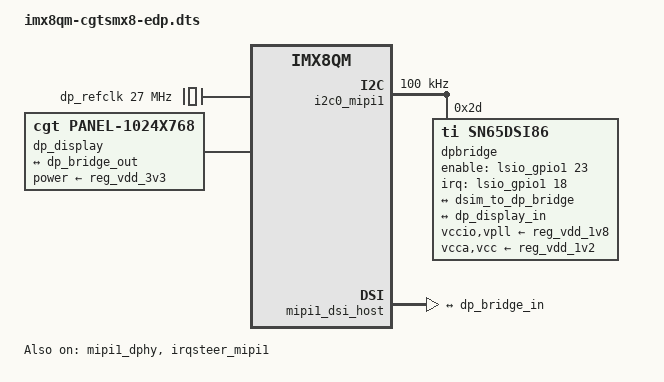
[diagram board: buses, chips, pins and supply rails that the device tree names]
/*
 * Copyright 2017 NXP
 * Copyright 2021 congatec AG
 *
 * This program is free software; you can redistribute it and/or
 * modify it under the terms of the GNU General Public License
 * as published by the Free Software Foundation; either version 2
 * of the License, or (at your option) any later version.
 *
 * This program is distributed in the hope that it will be useful,
 * but WITHOUT ANY WARRANTY; without even the implied warranty of
 * MERCHANTABILITY or FITNESS FOR A PARTICULAR PURPOSE.  See the
 * GNU General Public License for more details.
 */

/dts-v1/;

#include "imx8qm-cgtsmx8.dtsi"

/ {
	dp_refclk: dp-refclk {
		compatible = "fixed-clock";
		#clock-cells = <0>;
		clock-frequency = <27000000>;
	};

	dp_display: dp-display {
		#address-cells = <1>;
		#size-cells = <0>;
		compatible = "cgt,panel-1024x768", "simple-panel";
		power-supply = <&reg_vdd_3v3>;
		status = "okay";

		port@0 {
			reg = <0>;

			dp_display_in: endpoint {
				remote-endpoint = <&dp_bridge_out>;
			};
		};
	};
};


/* i2c bus to MIPI-DSI to eDP bridge */
&i2c0_mipi1 {
	#address-cells = <1>;
	#size-cells = <0>;
	pinctrl-names = "default";
	pinctrl-0 = <&pinctrl_mipi1_lpi2c0>;
	clock-frequency = <100000>;
	status = "okay";

	dpbridge: sn65dsi86@2d {
		compatible = "ti,sn65dsi86";
		#address-cells = <1>;
		#size-cells = <0>;
		reg = <0x2d>;
		clock-names = "refclk";
		clocks = <&dp_refclk>;
		interrupt-parent = <&lsio_gpio1>;
		interrupts = <18 IRQ_TYPE_LEVEL_HIGH>;

		enable-gpios = <&lsio_gpio1 23 GPIO_ACTIVE_HIGH>;

		vccio-supply = <&reg_vdd_1v8>;
		vpll-supply = <&reg_vdd_1v8>;
		vcca-supply = <&reg_vdd_1v2>;
		vcc-supply = <&reg_vdd_1v2>;

		ddc-edid-enable;
		edp-assr;

		/* hotplug detect is not avail due to a hardware issue on SMX8 */
		// hpd-enable;

		status = "okay";

		ports {
			#address-cells = <1>;
			#size-cells = <0>;

			port@0 {
				reg = <0>;

				dp_bridge_in: endpoint {
					remote-endpoint = <&dsim_to_dp_bridge>;
				};
			};

			port@1 {
				reg = <1>;

				dp_bridge_out: endpoint {
					remote-endpoint = <&dp_display_in>;
				};
			};
		};
	};
};

&mipi1_dphy {
	status = "okay";
};

&mipi1_dsi_host {
	status = "okay";

	ports {
		port@1 {
			reg = <1>;
			dsim_to_dp_bridge: endpoint {
				remote-endpoint = <&dp_bridge_in>;
			};
		};
	};
};

&irqsteer_mipi1 {
	status = "okay";
};

&ldb1_phy {
	status = "disabled";
};

&ldb1 {
	status = "disabled";
};

&ldb2_phy {
	status = "disabled";
};

&ldb2 {
	status = "disabled";
};


&iomuxc {
	pinctrl_mipi1_lpi2c0: mipi1_lpi2c0grp {
		fsl,pins = <
			IMX8QM_MIPI_DSI1_I2C0_SCL_MIPI_DSI1_I2C0_SCL      0xc600004c
			IMX8QM_MIPI_DSI1_I2C0_SDA_MIPI_DSI1_I2C0_SDA      0xc600004c
			IMX8QM_MIPI_DSI0_GPIO0_00_LSIO_GPIO1_IO18         0x00000041 /* pulldown on SN65DSI86 IRQ request (if stuffed) or SMARC S113 eDP1_HDP */
			IMX8QM_MIPI_DSI0_GPIO0_01_LSIO_GPIO1_IO19         0x00000041 /* not used, pull down */
			IMX8QM_MIPI_DSI1_GPIO0_00_LSIO_GPIO1_IO22         0x00000041 /* SMARC S144 eDP0_HDP, pull down */
			IMX8QM_MIPI_DSI1_GPIO0_01_LSIO_GPIO1_IO23         0x00000020 /* DSI to eDP Bridge (U37) Reset Pin, pull up */
		>;
	};
};
